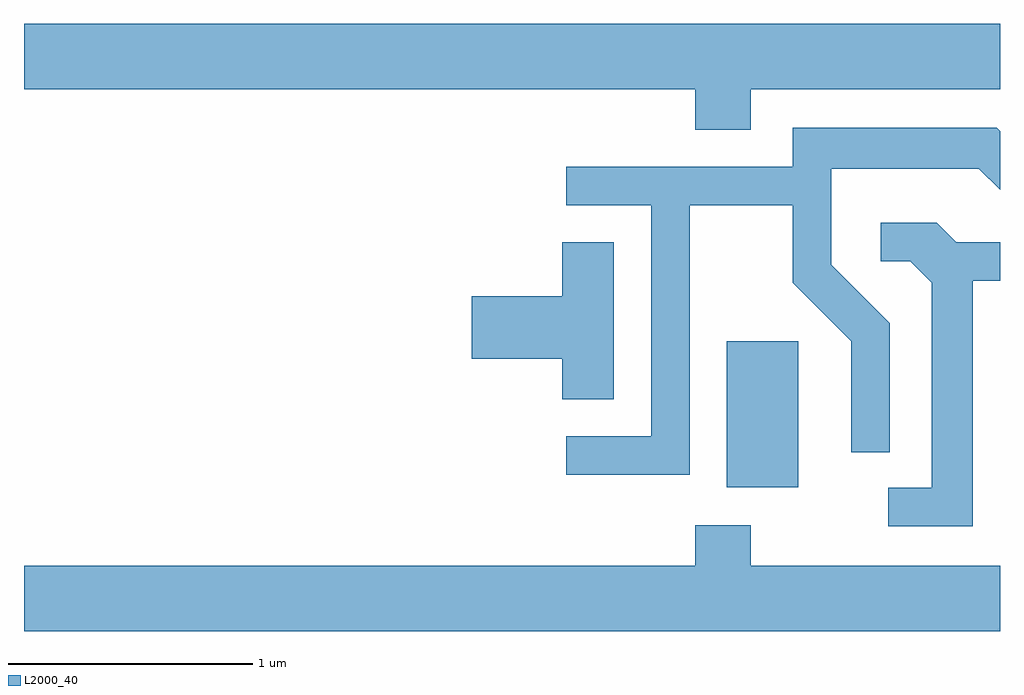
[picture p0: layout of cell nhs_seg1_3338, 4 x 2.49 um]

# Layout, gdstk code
import gdstk
lib = gdstk.Library(unit=1e-6, precision=1e-09)
def R(c, l, rs):  # rectangles x0, y0, x1, y1
    for r in rs: c.add(gdstk.rectangle(r[:2], r[2:], *l))
def P(c, l, *ps):  # polygons
    for p in ps: c.add(gdstk.Polygon(p, *l))
L2000_40 = (2000, 40)

nhs_seg1_3338 = lib.new_cell('nhs_seg1_3338')
R(nhs_seg1_3338, L2000_40, [(288.491,926.806,288.784,927.404)])
P(nhs_seg1_3338, L2000_40, [(288.589,928.436),(289.611,928.436),(289.611,928.704),(285.611,928.704),(285.611,928.436),(288.361,928.436),(288.361,928.271),(288.589,928.271)],
  [(288.339,927.961),(288.761,927.961),(288.761,927.644),(289.001,927.404),(289.001,926.948),(289.159,926.948),(289.159,927.477),(288.919,927.717),(288.919,928.111),(289.524,928.111),(289.611,928.024),(289.611,928.265),(289.597,928.279),(288.761,928.279),(288.761,928.119),(287.833,928.119),(287.833,927.961),(288.181,927.961),(288.181,927.014),(287.833,927.014),(287.833,926.856),(288.339,926.856)],
  [(289.499,927.651),(289.611,927.651),(289.611,927.809),(289.432,927.809),(289.352,927.889),(289.123,927.889),(289.123,927.731),(289.244,927.731),(289.331,927.644),(289.331,926.804),(289.153,926.804),(289.153,926.646),(289.499,926.646)],
  [(288.029,927.809),(287.816,927.809),(287.816,927.589),(287.446,927.589),(287.446,927.331),(287.816,927.331),(287.816,927.166),(288.029,927.166)],
  [(289.611,926.484),(288.589,926.484),(288.589,926.649),(288.361,926.649),(288.361,926.484),(285.611,926.484),(285.611,926.216),(289.611,926.216)])

lib.write_gds('nhs_seg1_3338.gds')
